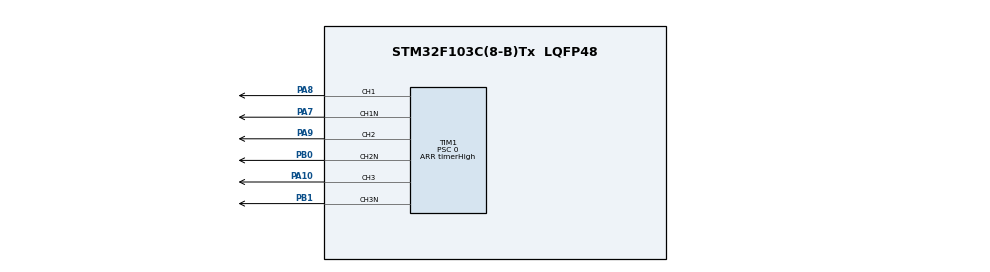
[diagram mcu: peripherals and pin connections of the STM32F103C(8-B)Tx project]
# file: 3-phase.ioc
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Mcu.Family=STM32F1
Mcu.Name=STM32F103C(8-B)Tx
Mcu.Package=LQFP48
Mcu.UserConstants=pwmHigh,400;pwmPrescaler,0;timerHigh,512;deadTime,10
NVIC.PriorityGroup=NVIC_PRIORITYGROUP_4
PA10.Signal=S_TIM1_CH3
PA13.Mode=Trace_Asynchronous_SW
PA13.Signal=SYS_JTMS-SWDIO
PA14.Mode=Trace_Asynchronous_SW
PA14.Signal=SYS_JTCK-SWCLK
PA7.Mode=PWM Generation1 CH1 CH1N
PA7.Signal=TIM1_CH1N
PA8.Signal=S_TIM1_CH1
PA9.Signal=S_TIM1_CH2
PB0.Mode=PWM Generation2 CH2 CH2N
PB0.Signal=TIM1_CH2N
PB1.Mode=PWM Generation3 CH3 CH3N
PB1.Signal=TIM1_CH3N
PB3.Mode=Trace_Asynchronous_SW
PB3.Signal=SYS_JTDO-TRACESWO
PC14-OSC32_IN.Mode=LSE-External-Oscillator
PC14-OSC32_IN.Signal=RCC_OSC32_IN
PC15-OSC32_OUT.Mode=LSE-External-Oscillator
PC15-OSC32_OUT.Signal=RCC_OSC32_OUT
PD0-OSC_IN.Mode=HSE-External-Oscillator
PD0-OSC_IN.Signal=RCC_OSC_IN
PD1-OSC_OUT.Mode=HSE-External-Oscillator
PD1-OSC_OUT.Signal=RCC_OSC_OUT
ProjectManager.HeapSize=0x200
ProjectManager.StackSize=0x400
ProjectManager.TargetToolchain=STM32CubeIDE
RCC.AHBFreq_Value=72000000
RCC.APB1CLKDivider=RCC_HCLK_DIV2
RCC.APB1Freq_Value=36000000
RCC.APB1TimFreq_Value=72000000
RCC.APB2Freq_Value=72000000
RCC.APB2TimFreq_Value=72000000
RCC.EnbaleCSS=true
RCC.HCLKFreq_Value=72000000
RCC.PLLMUL=RCC_PLL_MUL9
RCC.PLLSourceVirtual=RCC_PLLSOURCE_HSE
RCC.SYSCLKFreq_VALUE=72000000
RCC.SYSCLKSource=RCC_SYSCLKSOURCE_PLLCLK
RCC.USBFreq_Value=72000000
SH.S_TIM1_CH1.0=TIM1_CH1,PWM Generation1 CH1 CH1N
SH.S_TIM1_CH2.0=TIM1_CH2,PWM Generation2 CH2 CH2N
SH.S_TIM1_CH3.0=TIM1_CH3,PWM Generation3 CH3 CH3N
TIM1.AutoReloadPreload=TIM_AUTORELOAD_PRELOAD_ENABLE
TIM1.BreakState=TIM_BREAK_DISABLE
TIM1.Channel-PWM\ Generation1\ CH1\ CH1N=TIM_CHANNEL_1
TIM1.Channel-PWM\ Generation2\ CH2\ CH2N=TIM_CHANNEL_2
TIM1.Channel-PWM\ Generation3\ CH3\ CH3N=TIM_CHANNEL_3
TIM1.ClockDivision=TIM_CLOCKDIVISION_DIV1
TIM1.CounterMode=TIM_COUNTERMODE_UP
TIM1.DeadTime=20
TIM1.OC3Preload_PWM=ENABLE
TIM1.OCNIdleState_2=TIM_OCNIDLESTATE_RESET
TIM1.OCNIdleState_3=TIM_OCNIDLESTATE_RESET
TIM1.OCNPolarity_2=TIM_OCNPOLARITY_HIGH
TIM1.OCNPolarity_3=TIM_OCNPOLARITY_HIGH
TIM1.Period=timerHigh
TIM1.Prescaler=0
VP_TIM1_VS_ClockSourceINT.Mode=Internal
board=custom

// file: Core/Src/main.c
/* USER CODE BEGIN Header */
/**
  ******************************************************************************
  * @file           : main.c
  * @brief          : Main program body
  ******************************************************************************
  * @attention
  *
  * <h2><center>&copy; Copyright (c) 2020 STMicroelectronics.
  * All rights reserved.</center></h2>
  *
  * This software component is licensed by ST under BSD 3-Clause license,
  * the "License"; You may not use this file except in compliance with the
  * License. You may obtain a copy of the License at:
  *                        opensource.org/licenses/BSD-3-Clause
  *
  ******************************************************************************
  */
/* USER CODE END Header */
#include "main.h"

void SystemClock_Config(void);
static void MX_GPIO_Init(void);
static void MX_TIM1_Init(void);

int main(void)
{

  /* MCU Configuration--------------------------------------------------------*/

  /* Reset of all peripherals, Initializes the Flash interface and the Systick. */

  LL_APB2_GRP1_EnableClock(LL_APB2_GRP1_PERIPH_AFIO);
  LL_APB1_GRP1_EnableClock(LL_APB1_GRP1_PERIPH_PWR);

  NVIC_SetPriorityGrouping(NVIC_PRIORITYGROUP_4);

  /* System interrupt init*/

  /** NOJTAG: JTAG-DP Disabled and SW-DP Enabled
  */
  LL_GPIO_AF_Remap_SWJ_NOJTAG();

  /* Configure the system clock */
  SystemClock_Config();

  /* Initialize all configured peripherals */
  MX_GPIO_Init();
  MX_TIM1_Init();
  /* USER CODE BEGIN 2 */

  /*PA7   ------> TIM1_CH1N
    PB0   ------> TIM1_CH2N
    PB1   ------> TIM1_CH3N
    PA8   ------> TIM1_CH1
    PA9   ------> TIM1_CH2
    PA10   ------> TIM1_CH3*/

  GPIOA->CRL |= 0b10 << GPIO_CRL_CNF7_Pos | 0b11 << GPIO_CRL_MODE7_Pos;
  GPIOA->CRH |= 0b10 << GPIO_CRH_CNF8_Pos | 0b11 << GPIO_CRH_MODE8_Pos | 0b10 << GPIO_CRH_CNF9_Pos | 0b11 << GPIO_CRH_MODE9_Pos | 0b10 << GPIO_CRH_CNF9_Pos | 0b11 << GPIO_CRH_MODE10_Pos;
  GPIOB->CRL |= 0b10 << GPIO_CRL_CNF0_Pos | 0b11 << GPIO_CRL_MODE0_Pos | 0b10 << GPIO_CRL_CNF1_Pos | 0b11 << GPIO_CRL_MODE1_Pos;
  GPIOA->CRL |= 0b1 << GPIO_CRL_CNF0_Pos | 0b11 << GPIO_CRL_MODE0_Pos;
  //TIM1->CCR1 = pwmHigh;
  TIM1->CR1 |= TIM_CR1_CEN;
  //TIM1->CCER |= TIM_CCER_CC1E | TIM_CCER_CC1NE;
  TIM1->BDTR |= TIM_BDTR_MOE;
  TIM1->EGR = TIM_EGR_UG;
  //LL_mDelay(5000);
  uint32_t state = 0;

  TIM1->CCR1 = 0;
  TIM1->CCER &= ~(TIM_CCER_CC1E | TIM_CCER_CC1NE);

  TIM1->CCR2 = 0;
  TIM1->CCER |= (TIM_CCER_CC2E | TIM_CCER_CC2NE);

  TIM1->CCR3 = pwmHigh;
  TIM1->CCER |= (TIM_CCER_CC3E | TIM_CCER_CC3NE);

  TIM1->EGR = TIM_EGR_UG;

  LL_mDelay(300);

  /* USER CODE END 2 */

  /* Infinite loop */
  /* USER CODE BEGIN WHILE */
  uint32_t rot = 0;
  const uint32_t topValue = 900;
  const uint32_t startValue = 10;
  const uint32_t delayDefault = 8;
  const uint32_t targetValue = 1;

  while (1)
  {
	  //continue;
	if (rot < topValue)
		rot++;

	if (rot > startValue){
		LL_mDelay(delayDefault - (rot - startValue) * (delayDefault - targetValue) / (topValue - startValue));
	} else {
		LL_mDelay(delayDefault);
	}
	GPIOA->ODR ^= GPIO_ODR_ODR0;
	TIM1->CNT = 0;

	switch(state){
	case 0:
		TIM1->CCR1 = pwmHigh;
		TIM1->CCER |= (TIM_CCER_CC1E | TIM_CCER_CC1NE);

		TIM1->CCR2 = 0; // ??
		TIM1->CCER |= (TIM_CCER_CC2E | TIM_CCER_CC2NE);

		TIM1->CCR3 = 0;
		TIM1->CCER &= ~(TIM_CCER_CC3E | TIM_CCER_CC3NE);

		TIM1->EGR = TIM_EGR_UG;

		break;
	case 1:
		TIM1->CCR1 = pwmHigh;
		TIM1->CCER |= (TIM_CCER_CC1E | TIM_CCER_CC1NE);

		TIM1->CCR2 = 0; // ??
		TIM1->CCER &= ~(TIM_CCER_CC2E | TIM_CCER_CC2NE);

		TIM1->CCR3 = 0;
		TIM1->CCER |= (TIM_CCER_CC3E | TIM_CCER_CC3NE);

		TIM1->EGR = TIM_EGR_UG;

		break;
	case 2:
		TIM1->CCR1 = 0;
		TIM1->CCER &= ~(TIM_CCER_CC1E | TIM_CCER_CC1NE);

		TIM1->CCR2 = pwmHigh;
		TIM1->CCER |= (TIM_CCER_CC2E | TIM_CCER_CC2NE);

		TIM1->CCR3 = 0;
		TIM1->CCER |= (TIM_CCER_CC3E | TIM_CCER_CC3NE);

		TIM1->EGR = TIM_EGR_UG;

		break;
	case 3:
		TIM1->CCR1 = 0;
		TIM1->CCER |= (TIM_CCER_CC1E | TIM_CCER_CC1NE);

		TIM1->CCR2 = pwmHigh;
		TIM1->CCER |= (TIM_CCER_CC2E | TIM_CCER_CC2NE);

		TIM1->CCR3 = 0;
		TIM1->CCER &= ~(TIM_CCER_CC3E | TIM_CCER_CC3NE);

		TIM1->EGR = TIM_EGR_UG;

		break;
	case 4:
		TIM1->CCR1 = 0;
		TIM1->CCER |= (TIM_CCER_CC1E | TIM_CCER_CC1NE);

		TIM1->CCR2 = 0;
		TIM1->CCER &= ~(TIM_CCER_CC2E | TIM_CCER_CC2NE);

		TIM1->CCR3 = pwmHigh;
		TIM1->CCER |= (TIM_CCER_CC3E | TIM_CCER_CC3NE);

		TIM1->EGR = TIM_EGR_UG;

		break;
	case 5:
		TIM1->CCR1 = 0;
		TIM1->CCER &= ~(TIM_CCER_CC1E | TIM_CCER_CC1NE);

		TIM1->CCR2 = 0;
		TIM1->CCER |= (TIM_CCER_CC2E | TIM_CCER_CC2NE);

		TIM1->CCR3 = pwmHigh;
		TIM1->CCER |= (TIM_CCER_CC3E | TIM_CCER_CC3NE);

		TIM1->EGR = TIM_EGR_UG;

		break;
	}

	state++;
	state = state % 6;

    /* USER CODE END WHILE */

  }
}

void SystemClock_Config(void)
{
  LL_FLASH_SetLatency(LL_FLASH_LATENCY_2);
  while(LL_FLASH_GetLatency()!= LL_FLASH_LATENCY_2)
  {
  }
  LL_RCC_HSE_Enable();

   /* Wait till HSE is ready */
  while(LL_RCC_HSE_IsReady() != 1)
  {

  }
  LL_RCC_HSE_EnableCSS();
  LL_RCC_PLL_ConfigDomain_SYS(LL_RCC_PLLSOURCE_HSE_DIV_1, LL_RCC_PLL_MUL_9);
  LL_RCC_PLL_Enable();

   /* Wait till PLL is ready */
  while(LL_RCC_PLL_IsReady() != 1)
  {

  }
  LL_RCC_SetAHBPrescaler(LL_RCC_SYSCLK_DIV_1);
  LL_RCC_SetAPB1Prescaler(LL_RCC_APB1_DIV_2);
  LL_RCC_SetAPB2Prescaler(LL_RCC_APB2_DIV_1);
  LL_RCC_SetSysClkSource(LL_RCC_SYS_CLKSOURCE_PLL);

   /* Wait till System clock is ready */
  while(LL_RCC_GetSysClkSource() != LL_RCC_SYS_CLKSOURCE_STATUS_PLL)
  {

  }
  LL_Init1msTick(72000000);
  LL_SetSystemCoreClock(72000000);
}

static void MX_TIM1_Init(void)
{

  LL_TIM_InitTypeDef TIM_InitStruct = {0};
  LL_TIM_OC_InitTypeDef TIM_OC_InitStruct = {0};
  LL_TIM_BDTR_InitTypeDef TIM_BDTRInitStruct = {0};

  LL_GPIO_InitTypeDef GPIO_InitStruct = {0};

  /* Peripheral clock enable */
  LL_APB2_GRP1_EnableClock(LL_APB2_GRP1_PERIPH_TIM1);

  TIM_InitStruct.Prescaler = 0;
  TIM_InitStruct.CounterMode = LL_TIM_COUNTERMODE_UP;
  TIM_InitStruct.Autoreload = timerHigh;
  TIM_InitStruct.ClockDivision = LL_TIM_CLOCKDIVISION_DIV1;
  TIM_InitStruct.RepetitionCounter = 0;
  LL_TIM_Init(TIM1, &TIM_InitStruct);
  LL_TIM_EnableARRPreload(TIM1);
  LL_TIM_SetClockSource(TIM1, LL_TIM_CLOCKSOURCE_INTERNAL);
  LL_TIM_OC_EnablePreload(TIM1, LL_TIM_CHANNEL_CH1);
  TIM_OC_InitStruct.OCMode = LL_TIM_OCMODE_PWM1;
  TIM_OC_InitStruct.OCState = LL_TIM_OCSTATE_DISABLE;
  TIM_OC_InitStruct.OCNState = LL_TIM_OCSTATE_DISABLE;
  TIM_OC_InitStruct.CompareValue = 0;
  TIM_OC_InitStruct.OCPolarity = LL_TIM_OCPOLARITY_HIGH;
  TIM_OC_InitStruct.OCNPolarity = LL_TIM_OCPOLARITY_HIGH;
  TIM_OC_InitStruct.OCIdleState = LL_TIM_OCIDLESTATE_LOW;
  TIM_OC_InitStruct.OCNIdleState = LL_TIM_OCIDLESTATE_LOW;
  LL_TIM_OC_Init(TIM1, LL_TIM_CHANNEL_CH1, &TIM_OC_InitStruct);
  LL_TIM_OC_DisableFast(TIM1, LL_TIM_CHANNEL_CH1);
  LL_TIM_OC_EnablePreload(TIM1, LL_TIM_CHANNEL_CH2);
  TIM_OC_InitStruct.OCState = LL_TIM_OCSTATE_DISABLE;
  TIM_OC_InitStruct.OCNState = LL_TIM_OCSTATE_DISABLE;
  LL_TIM_OC_Init(TIM1, LL_TIM_CHANNEL_CH2, &TIM_OC_InitStruct);
  LL_TIM_OC_DisableFast(TIM1, LL_TIM_CHANNEL_CH2);
  LL_TIM_OC_EnablePreload(TIM1, LL_TIM_CHANNEL_CH3);
  TIM_OC_InitStruct.OCState = LL_TIM_OCSTATE_DISABLE;
  TIM_OC_InitStruct.OCNState = LL_TIM_OCSTATE_DISABLE;
  LL_TIM_OC_Init(TIM1, LL_TIM_CHANNEL_CH3, &TIM_OC_InitStruct);
  LL_TIM_OC_DisableFast(TIM1, LL_TIM_CHANNEL_CH3);
  LL_TIM_SetTriggerOutput(TIM1, LL_TIM_TRGO_RESET);
  LL_TIM_DisableMasterSlaveMode(TIM1);
  TIM_BDTRInitStruct.OSSRState = LL_TIM_OSSR_DISABLE;
  TIM_BDTRInitStruct.OSSIState = LL_TIM_OSSI_DISABLE;
  TIM_BDTRInitStruct.LockLevel = LL_TIM_LOCKLEVEL_OFF;
  TIM_BDTRInitStruct.DeadTime = 20;
  TIM_BDTRInitStruct.BreakState = LL_TIM_BREAK_DISABLE;
  TIM_BDTRInitStruct.BreakPolarity = LL_TIM_BREAK_POLARITY_HIGH;
  TIM_BDTRInitStruct.AutomaticOutput = LL_TIM_AUTOMATICOUTPUT_DISABLE;
  LL_TIM_BDTR_Init(TIM1, &TIM_BDTRInitStruct);
  LL_APB2_GRP1_EnableClock(LL_APB2_GRP1_PERIPH_GPIOA);
  LL_APB2_GRP1_EnableClock(LL_APB2_GRP1_PERIPH_GPIOB);
  /**TIM1 GPIO Configuration
  PA7   ------> TIM1_CH1N
  PB0   ------> TIM1_CH2N
  PB1   ------> TIM1_CH3N
  PA8   ------> TIM1_CH1
  PA9   ------> TIM1_CH2
  PA10   ------> TIM1_CH3
  */
  GPIO_InitStruct.Pin = LL_GPIO_PIN_7|LL_GPIO_PIN_8|LL_GPIO_PIN_9|LL_GPIO_PIN_10;
  GPIO_InitStruct.Mode = LL_GPIO_MODE_ALTERNATE;
  GPIO_InitStruct.Speed = LL_GPIO_SPEED_FREQ_LOW;
  GPIO_InitStruct.OutputType = LL_GPIO_OUTPUT_PUSHPULL;
  LL_GPIO_Init(GPIOA, &GPIO_InitStruct);

  GPIO_InitStruct.Pin = LL_GPIO_PIN_0|LL_GPIO_PIN_1;
  GPIO_InitStruct.Mode = LL_GPIO_MODE_ALTERNATE;
  GPIO_InitStruct.Speed = LL_GPIO_SPEED_FREQ_LOW;
  GPIO_InitStruct.OutputType = LL_GPIO_OUTPUT_PUSHPULL;
  LL_GPIO_Init(GPIOB, &GPIO_InitStruct);

  LL_GPIO_AF_RemapPartial_TIM1();

}

static void MX_GPIO_Init(void)
{

  /* GPIO Ports Clock Enable */
  LL_APB2_GRP1_EnableClock(LL_APB2_GRP1_PERIPH_GPIOC);
  LL_APB2_GRP1_EnableClock(LL_APB2_GRP1_PERIPH_GPIOD);
  LL_APB2_GRP1_EnableClock(LL_APB2_GRP1_PERIPH_GPIOA);
  LL_APB2_GRP1_EnableClock(LL_APB2_GRP1_PERIPH_GPIOB);

}

void Error_Handler(void)
{
}

/************************ (C) COPYRIGHT STMicroelectronics *****END OF FILE****/
